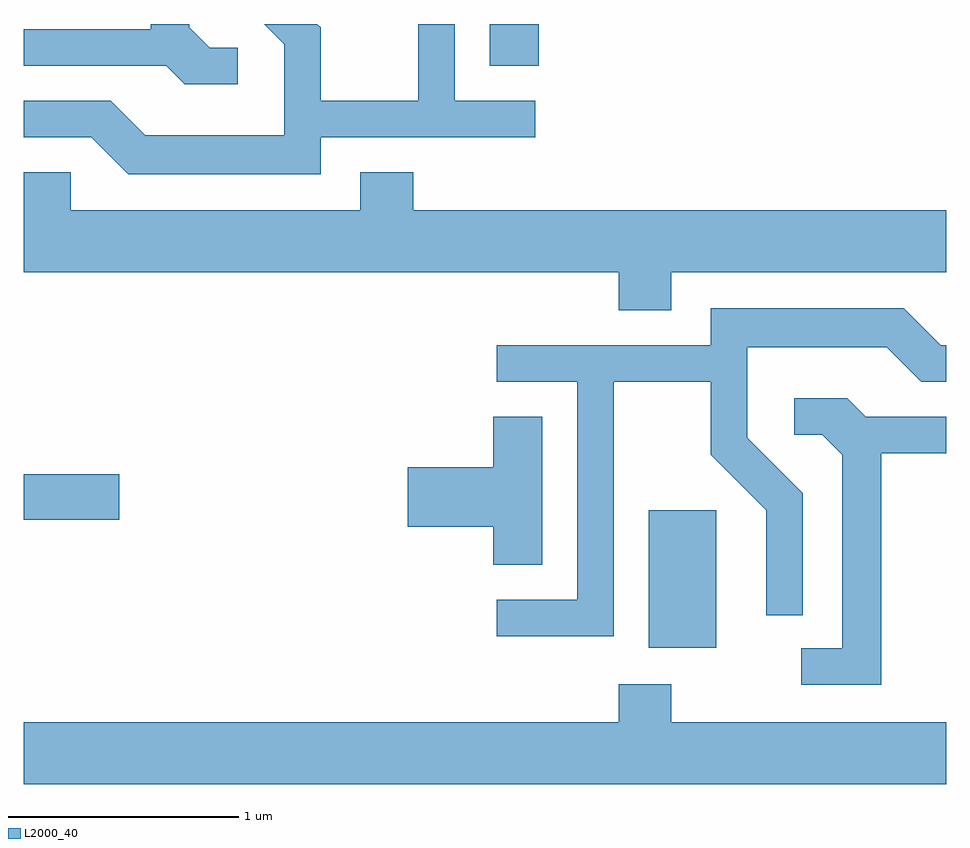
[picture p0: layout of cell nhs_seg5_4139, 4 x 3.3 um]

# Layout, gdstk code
import gdstk
lib = gdstk.Library(unit=1e-6, precision=1e-09)
def R(c, l, rs):  # rectangles x0, y0, x1, y1
    for r in rs: c.add(gdstk.rectangle(r[:2], r[2:], *l))
def P(c, l, *ps):  # polygons
    for p in ps: c.add(gdstk.Polygon(p, *l))
L2000_40 = (2000, 40)

nhs_seg5_4139 = lib.new_cell('nhs_seg5_4139')
R(nhs_seg5_4139, L2000_40, [(310.321,1477.366,310.614,1477.964), (307.611,1477.921,308.024,1478.119), (309.631,1479.891,309.844,1480.072)])
P(nhs_seg5_4139, L2000_40, [(308.538,1479.969),(308.417,1479.969),(308.329,1480.057),(308.329,1480.072),(308.161,1480.072),(308.161,1480.049),(307.611,1480.049),(307.611,1479.891),(308.229,1479.891),(308.309,1479.811),(308.538,1479.811)],
  [(308.899,1479.581),(309.828,1479.581),(309.828,1479.739),(309.479,1479.739),(309.479,1480.072),(309.321,1480.072),(309.321,1479.739),(308.899,1479.739),(308.899,1480.057),(308.884,1480.072),(308.653,1480.072),(308.741,1479.984),(308.741,1479.589),(308.137,1479.589),(307.987,1479.739),(307.611,1479.739),(307.611,1479.581),(307.904,1479.581),(308.064,1479.421),(308.899,1479.421)],
  [(310.419,1478.996),(311.611,1478.996),(311.611,1479.264),(309.299,1479.264),(309.299,1479.429),(309.071,1479.429),(309.071,1479.264),(307.814,1479.264),(307.814,1479.429),(307.611,1479.429),(307.611,1478.996),(310.191,1478.996),(310.191,1478.831),(310.419,1478.831)],
  [(310.169,1478.521),(310.591,1478.521),(310.591,1478.204),(310.831,1477.964),(310.831,1477.508),(310.989,1477.508),(310.989,1478.037),(310.749,1478.277),(310.749,1478.671),(311.354,1478.671),(311.504,1478.521),(311.611,1478.521),(311.611,1478.679),(311.587,1478.679),(311.427,1478.839),(310.591,1478.839),(310.591,1478.679),(309.663,1478.679),(309.663,1478.521),(310.011,1478.521),(310.011,1477.574),(309.663,1477.574),(309.663,1477.416),(310.169,1477.416)],
  [(311.329,1478.211),(311.611,1478.211),(311.611,1478.369),(311.262,1478.369),(311.182,1478.449),(310.953,1478.449),(310.953,1478.291),(311.074,1478.291),(311.161,1478.204),(311.161,1477.364),(310.983,1477.364),(310.983,1477.206),(311.329,1477.206)],
  [(309.859,1478.369),(309.646,1478.369),(309.646,1478.149),(309.276,1478.149),(309.276,1477.891),(309.646,1477.891),(309.646,1477.726),(309.859,1477.726)],
  [(311.611,1477.044),(310.419,1477.044),(310.419,1477.209),(310.191,1477.209),(310.191,1477.044),(307.611,1477.044),(307.611,1476.776),(311.611,1476.776)])

lib.write_gds('nhs_seg5_4139.gds')
